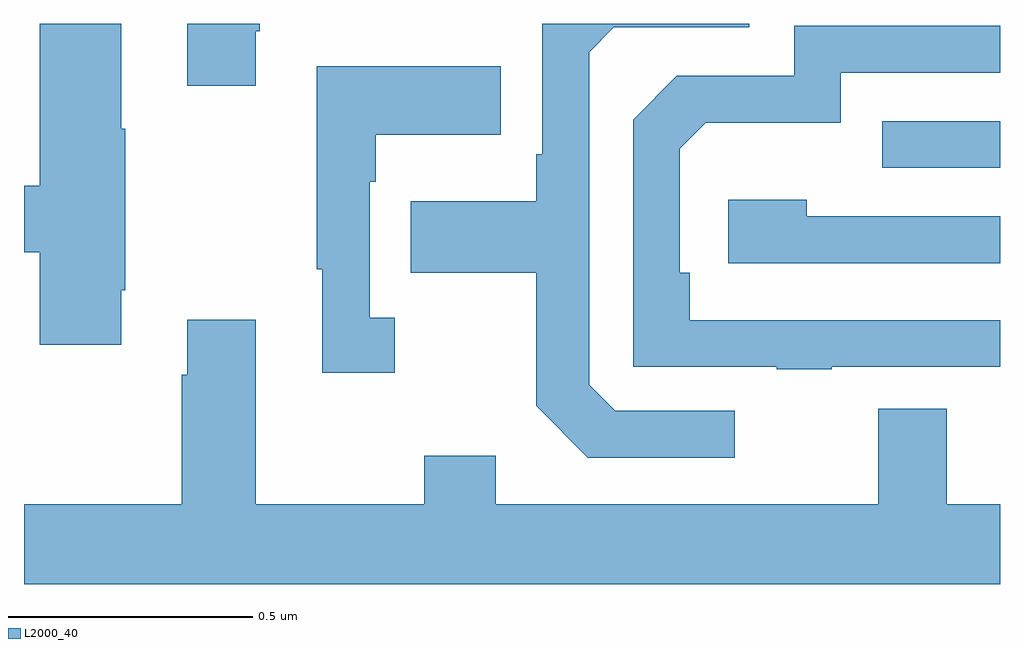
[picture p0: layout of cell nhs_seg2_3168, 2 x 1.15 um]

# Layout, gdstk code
import gdstk
lib = gdstk.Library(unit=1e-6, precision=1e-09)
def R(c, l, rs):  # rectangles x0, y0, x1, y1
    for r in rs: c.add(gdstk.rectangle(r[:2], r[2:], *l))
def P(c, l, *ps):  # polygons
    for p in ps: c.add(gdstk.Polygon(p, *l))
L2000_40 = (2000, 40)

nhs_seg2_3168 = lib.new_cell('nhs_seg2_3168')
R(nhs_seg2_3168, L2000_40, [(151.759,632.505,152,632.601)])
P(nhs_seg2_3168, L2000_40, [(150.475,632.785),(150.483,632.785),(150.483,632.8),(150.335,632.8),(150.335,632.673),(150.475,632.673)],
  [(150.199,632.254),(150.207,632.254),(150.207,632.585),(150.199,632.585),(150.199,632.8),(150.032,632.8),(150.032,632.468),(150,632.468),(150,632.332),(150.032,632.332),(150.032,632.142),(150.199,632.142)],
  [(151.456,632.007),(151.212,632.007),(151.158,632.061),(151.158,632.742),(151.209,632.793),(151.486,632.793),(151.486,632.8),(151.062,632.8),(151.062,632.533),(151.05,632.533),(151.05,632.437),(150.793,632.437),(150.793,632.29),(151.05,632.29),(151.05,632.017),(151.155,631.911),(151.456,631.911)],
  [(151.655,632.097),(152,632.097),(152,632.193),(151.364,632.193),(151.364,632.29),(151.344,632.29),(151.344,632.544),(151.397,632.597),(151.674,632.597),(151.674,632.7),(152,632.7),(152,632.796),(151.578,632.796),(151.578,632.694),(151.338,632.694),(151.248,632.604),(151.248,632.097),(151.543,632.097),(151.543,632.092),(151.655,632.092)],
  [(150.76,632.198),(150.708,632.198),(150.708,632.477),(150.721,632.477),(150.721,632.573),(150.977,632.573),(150.977,632.713),(150.6,632.713),(150.6,632.297),(150.611,632.297),(150.611,632.085),(150.76,632.085)],
  [(152,632.406),(151.604,632.406),(151.604,632.44),(151.443,632.44),(151.443,632.31),(152,632.31)],
  [(152,631.816),(151.891,631.816),(151.891,632.011),(151.751,632.011),(151.751,631.816),(150.967,631.816),(150.967,631.915),(150.82,631.915),(150.82,631.816),(150.475,631.816),(150.475,632.194),(150.335,632.194),(150.335,632.081),(150.323,632.081),(150.323,631.816),(150,631.816),(150,631.652),(152,631.652)])

lib.write_gds('nhs_seg2_3168.gds')
